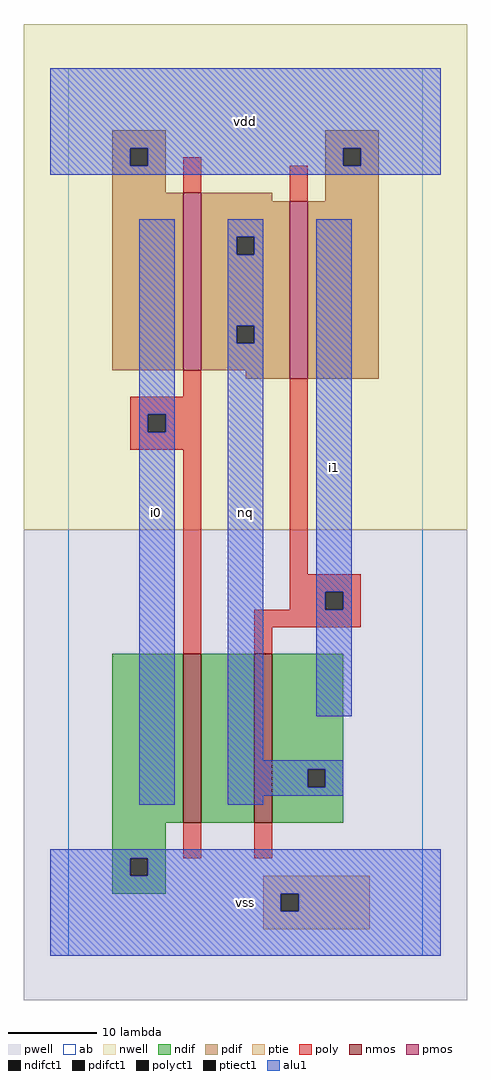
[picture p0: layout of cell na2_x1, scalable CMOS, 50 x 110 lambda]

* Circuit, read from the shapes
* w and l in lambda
.subckt na2_x1 i0 i1 nq vdd vss
M1 n1 i0 vss vss nfet w=19 l=2
M2 nq i1 n1 vss nfet w=19 l=2
M3 nq i0 vdd n2 pfet w=20 l=2
M4 vdd i1 nq n2 pfet w=20 l=2
.ends

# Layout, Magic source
magic
tech scmos
<< ab >>
rect 0 0 40 100
<< nwell >>
rect -5 48 45 105
<< pwell >>
rect -5 -5 45 48
<< poly >>
rect 13 86 15 90
rect 25 85 27 89
rect 13 63 15 66
rect 7 61 15 63
rect 7 59 9 61
rect 11 59 15 61
rect 7 57 15 59
rect 13 34 15 57
rect 25 43 27 65
rect 25 41 33 43
rect 25 39 29 41
rect 31 39 33 41
rect 21 37 33 39
rect 21 34 23 37
rect 13 11 15 15
rect 21 11 23 15
<< ndif >>
rect 5 15 13 34
rect 15 15 21 34
rect 23 21 31 34
rect 23 19 27 21
rect 29 19 31 21
rect 23 15 31 19
rect 5 11 11 15
rect 5 9 7 11
rect 9 9 11 11
rect 5 7 11 9
<< pdif >>
rect 5 91 11 93
rect 5 89 7 91
rect 9 89 11 91
rect 29 91 35 93
rect 5 86 11 89
rect 29 89 31 91
rect 33 89 35 91
rect 5 66 13 86
rect 15 85 23 86
rect 29 85 35 89
rect 15 81 25 85
rect 15 79 19 81
rect 21 79 25 81
rect 15 71 25 79
rect 15 69 19 71
rect 21 69 25 71
rect 15 66 25 69
rect 20 65 25 66
rect 27 65 35 85
<< alu1 >>
rect -2 91 42 100
rect -2 89 7 91
rect 9 89 31 91
rect 33 89 42 91
rect -2 88 42 89
rect 8 61 12 83
rect 8 59 9 61
rect 11 59 12 61
rect 8 17 12 59
rect 18 81 22 83
rect 18 79 19 81
rect 21 79 22 81
rect 18 71 22 79
rect 18 69 19 71
rect 21 69 22 71
rect 18 22 22 69
rect 28 41 32 83
rect 28 39 29 41
rect 31 39 32 41
rect 28 27 32 39
rect 18 21 31 22
rect 18 19 27 21
rect 29 19 31 21
rect 18 18 31 19
rect 18 17 22 18
rect -2 11 42 12
rect -2 9 7 11
rect 9 9 42 11
rect -2 7 42 9
rect -2 5 24 7
rect 26 5 42 7
rect -2 0 42 5
<< ptie >>
rect 22 7 34 9
rect 22 5 24 7
rect 26 5 34 7
rect 22 3 34 5
<< nmos >>
rect 13 15 15 34
rect 21 15 23 34
<< pmos >>
rect 13 66 15 86
rect 25 65 27 85
<< polyct1 >>
rect 9 59 11 61
rect 29 39 31 41
<< ndifct1 >>
rect 27 19 29 21
rect 7 9 9 11
<< ptiect1 >>
rect 24 5 26 7
<< pdifct1 >>
rect 7 89 9 91
rect 31 89 33 91
rect 19 79 21 81
rect 19 69 21 71
<< labels >>
rlabel alu1 20 6 20 6 6 vss
rlabel alu1 10 50 10 50 6 i0
rlabel alu1 20 50 20 50 6 nq
rlabel alu1 20 94 20 94 6 vdd
rlabel alu1 30 55 30 55 6 i1
<< end >>
